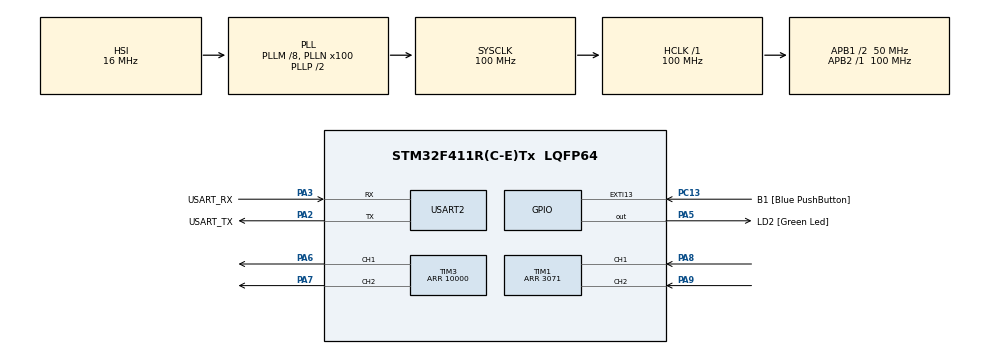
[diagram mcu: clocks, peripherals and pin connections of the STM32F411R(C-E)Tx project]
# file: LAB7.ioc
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Mcu.Family=STM32F4
Mcu.Name=STM32F411R(C-E)Tx
Mcu.Package=LQFP64
NVIC.PriorityGroup=NVIC_PRIORITYGROUP_0
NVIC.TIM2_IRQn=true\:0\:0\:false\:false\:true\:true\:true
PA13.GPIO_Label=TMS
PA13.Mode=Serial_Wire
PA13.Signal=SYS_JTMS-SWDIO
PA14.GPIO_Label=TCK
PA14.Mode=Serial_Wire
PA14.Signal=SYS_JTCK-SWCLK
PA2.GPIO_Label=USART_TX
PA2.Mode=Asynchronous
PA2.Signal=USART2_TX
PA3.GPIO_Label=USART_RX
PA3.Mode=Asynchronous
PA3.Signal=USART2_RX
PA5.GPIO_Label=LD2 [Green Led]
PA5.Signal=GPIO_Output
PA6.Signal=S_TIM3_CH1
PA7.Signal=S_TIM3_CH2
PA8.Signal=S_TIM1_CH1
PA9.Signal=S_TIM1_CH2
PB3.GPIO_Label=SWO
PB3.Signal=SYS_JTDO-SWO
PC13-ANTI_TAMP.GPIO_Label=B1 [Blue PushButton]
PC13-ANTI_TAMP.GPIO_ModeDefaultEXTI=GPIO_MODE_IT_FALLING
PC13-ANTI_TAMP.Signal=GPXTI13
PC14-OSC32_IN.Mode=LSE-External-Oscillator
PC14-OSC32_IN.Signal=RCC_OSC32_IN
PC15-OSC32_OUT.Mode=LSE-External-Oscillator
PC15-OSC32_OUT.Signal=RCC_OSC32_OUT
PH0\ -\ OSC_IN.Mode=HSE-External-Clock-Source
PH0\ -\ OSC_IN.Signal=RCC_OSC_IN
PH1\ -\ OSC_OUT.Mode=HSE-External-Clock-Source
PH1\ -\ OSC_OUT.Signal=RCC_OSC_OUT
ProjectManager.HeapSize=0x200
ProjectManager.StackSize=0x400
ProjectManager.TargetToolchain=STM32CubeIDE
RCC.48MHZClocksFreq_Value=50000000
RCC.AHBFreq_Value=100000000
RCC.APB1CLKDivider=RCC_HCLK_DIV2
RCC.APB1Freq_Value=50000000
RCC.APB1TimFreq_Value=100000000
RCC.APB2Freq_Value=100000000
RCC.APB2TimFreq_Value=100000000
RCC.CortexFreq_Value=100000000
RCC.FLatency-AdvancedSettings=FLASH_LATENCY_3
RCC.HCLKFreq_Value=100000000
RCC.HSE_VALUE=8000000
RCC.HSI_VALUE=16000000
RCC.PLLM=8
RCC.PLLN=100
RCC.SYSCLKFreq_VALUE=100000000
RCC.SYSCLKSource=RCC_SYSCLKSOURCE_PLLCLK
RCC.VCOOutputFreq_Value=200000000
SH.S_TIM1_CH1.0=TIM1_CH1,Encoder_Interface
SH.S_TIM1_CH2.0=TIM1_CH2,Encoder_Interface
SH.S_TIM3_CH1.0=TIM3_CH1,PWM Generation1 CH1
SH.S_TIM3_CH2.0=TIM3_CH2,PWM Generation2 CH2
TIM1.EncoderMode=TIM_ENCODERMODE_TI12
TIM1.Period=3071
TIM2.Prescaler=99
TIM3.Channel-PWM\ Generation1\ CH1=TIM_CHANNEL_1
TIM3.Channel-PWM\ Generation2\ CH2=TIM_CHANNEL_2
TIM3.Period=10000
USART2.VirtualMode=VM_ASYNC
VP_TIM2_VS_ClockSourceINT.Mode=Internal
VP_TIM3_VS_ClockSourceINT.Mode=Internal
board=NUCLEO-F411RE

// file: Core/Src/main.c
/* USER CODE BEGIN Header */
/**
 ******************************************************************************
 * @file           : main.c
 * @brief          : Main program body
 ******************************************************************************
 * @attention
 *
 * <h2><center>&copy; Copyright (c) 2021 STMicroelectronics.
 * All rights reserved.</center></h2>
 *
 * This software component is licensed by ST under BSD 3-Clause license,
 * the "License"; You may not use this file except in compliance with the
 * License. You may obtain a copy of the License at:
 *                        opensource.org/licenses/BSD-3-Clause
 *
 ******************************************************************************
 */
/* USER CODE END Header */
#include "main.h"

TIM_HandleTypeDef htim1;
TIM_HandleTypeDef htim2;
TIM_HandleTypeDef htim3;

UART_HandleTypeDef huart2;

/* USER CODE BEGIN PV */
uint64_t _micros = 0;
float EncoderVel,EncoderRPM,ControlRPM,Error,SumError,LastError,Ki=0.5,Kp=80.0,Kd=3.0;
int PWMOUT = 3000;
uint64_t Timestamp_Encoder = 0;
/* USER CODE END PV */

void SystemClock_Config(void);
static void MX_GPIO_Init(void);
static void MX_USART2_UART_Init(void);
static void MX_TIM1_Init(void);
static void MX_TIM2_Init(void);
static void MX_TIM3_Init(void);
/* USER CODE BEGIN PFP */
uint64_t micros();
float EncoderVelocity_Update();

/* USER CODE END PFP */

int main(void)
{

  /* MCU Configuration--------------------------------------------------------*/

  /* Reset of all peripherals, Initializes the Flash interface and the Systick. */
  HAL_Init();

  /* Configure the system clock */
  SystemClock_Config();

  /* Initialize all configured peripherals */
  MX_GPIO_Init();
  MX_USART2_UART_Init();
  MX_TIM1_Init();
  MX_TIM2_Init();
  MX_TIM3_Init();
  /* USER CODE BEGIN 2 */
	HAL_TIM_Base_Start_IT(&htim2);
	HAL_TIM_Encoder_Start(&htim1, TIM_CHANNEL_ALL);
	HAL_TIM_Base_Start(&htim3);
	HAL_TIM_PWM_Start(&htim3, TIM_CHANNEL_1);
	HAL_TIM_PWM_Start(&htim3, TIM_CHANNEL_2);
  /* USER CODE END 2 */

  /* Infinite loop */
	while (1)
	{

    /* USER CODE BEGIN 3 */

		//Add LPF?
		if (micros() - Timestamp_Encoder >= 1000)
		{
			Timestamp_Encoder = micros();
			EncoderVel = (EncoderVel * 99 + EncoderVelocity_Update()) / 100.0;
			EncoderRPM = ((EncoderRPM * 99) + (EncoderVel*60)/3072)/100.0;
			Error = ControlRPM - EncoderRPM;
			SumError+=Error;
			PWMOUT = (Kp * Error) + (Ki * SumError) + Kd * (Error-LastError);
			LastError = Error;
			if(PWMOUT > 0)
			{
				__HAL_TIM_SET_COMPARE(&htim3, TIM_CHANNEL_1, PWMOUT);
				__HAL_TIM_SET_COMPARE(&htim3, TIM_CHANNEL_2, 0);
			}
			else if(PWMOUT < 0)
			{
				PWMOUT = PWMOUT * (-1);
				__HAL_TIM_SET_COMPARE(&htim3, TIM_CHANNEL_1, 0);
				__HAL_TIM_SET_COMPARE(&htim3, TIM_CHANNEL_2, PWMOUT);
			}
			else
			{
				__HAL_TIM_SET_COMPARE(&htim3, TIM_CHANNEL_1, 0);
				__HAL_TIM_SET_COMPARE(&htim3, TIM_CHANNEL_2, 0);
			}

		}

	}
  /* USER CODE END 3 */
}

void SystemClock_Config(void)
{
  RCC_OscInitTypeDef RCC_OscInitStruct = {0};
  RCC_ClkInitTypeDef RCC_ClkInitStruct = {0};

  /** Configure the main internal regulator output voltage
  */
  __HAL_RCC_PWR_CLK_ENABLE();
  __HAL_PWR_VOLTAGESCALING_CONFIG(PWR_REGULATOR_VOLTAGE_SCALE1);
  /** Initializes the RCC Oscillators according to the specified parameters
  * in the RCC_OscInitTypeDef structure.
  */
  RCC_OscInitStruct.OscillatorType = RCC_OSCILLATORTYPE_HSI;
  RCC_OscInitStruct.HSIState = RCC_HSI_ON;
  RCC_OscInitStruct.HSICalibrationValue = RCC_HSICALIBRATION_DEFAULT;
  RCC_OscInitStruct.PLL.PLLState = RCC_PLL_ON;
  RCC_OscInitStruct.PLL.PLLSource = RCC_PLLSOURCE_HSI;
  RCC_OscInitStruct.PLL.PLLM = 8;
  RCC_OscInitStruct.PLL.PLLN = 100;
  RCC_OscInitStruct.PLL.PLLP = RCC_PLLP_DIV2;
  RCC_OscInitStruct.PLL.PLLQ = 4;
  if (HAL_RCC_OscConfig(&RCC_OscInitStruct) != HAL_OK)
  {
    Error_Handler();
  }
  /** Initializes the CPU, AHB and APB buses clocks
  */
  RCC_ClkInitStruct.ClockType = RCC_CLOCKTYPE_HCLK|RCC_CLOCKTYPE_SYSCLK
                              |RCC_CLOCKTYPE_PCLK1|RCC_CLOCKTYPE_PCLK2;
  RCC_ClkInitStruct.SYSCLKSource = RCC_SYSCLKSOURCE_PLLCLK;
  RCC_ClkInitStruct.AHBCLKDivider = RCC_SYSCLK_DIV1;
  RCC_ClkInitStruct.APB1CLKDivider = RCC_HCLK_DIV2;
  RCC_ClkInitStruct.APB2CLKDivider = RCC_HCLK_DIV1;

  if (HAL_RCC_ClockConfig(&RCC_ClkInitStruct, FLASH_LATENCY_3) != HAL_OK)
  {
    Error_Handler();
  }
}

static void MX_TIM1_Init(void)
{

  TIM_Encoder_InitTypeDef sConfig = {0};
  TIM_MasterConfigTypeDef sMasterConfig = {0};

  htim1.Instance = TIM1;
  htim1.Init.Prescaler = 0;
  htim1.Init.CounterMode = TIM_COUNTERMODE_UP;
  htim1.Init.Period = 3071;
  htim1.Init.ClockDivision = TIM_CLOCKDIVISION_DIV1;
  htim1.Init.RepetitionCounter = 0;
  htim1.Init.AutoReloadPreload = TIM_AUTORELOAD_PRELOAD_DISABLE;
  sConfig.EncoderMode = TIM_ENCODERMODE_TI12;
  sConfig.IC1Polarity = TIM_ICPOLARITY_RISING;
  sConfig.IC1Selection = TIM_ICSELECTION_DIRECTTI;
  sConfig.IC1Prescaler = TIM_ICPSC_DIV1;
  sConfig.IC1Filter = 0;
  sConfig.IC2Polarity = TIM_ICPOLARITY_RISING;
  sConfig.IC2Selection = TIM_ICSELECTION_DIRECTTI;
  sConfig.IC2Prescaler = TIM_ICPSC_DIV1;
  sConfig.IC2Filter = 0;
  if (HAL_TIM_Encoder_Init(&htim1, &sConfig) != HAL_OK)
  {
    Error_Handler();
  }
  sMasterConfig.MasterOutputTrigger = TIM_TRGO_RESET;
  sMasterConfig.MasterSlaveMode = TIM_MASTERSLAVEMODE_DISABLE;
  if (HAL_TIMEx_MasterConfigSynchronization(&htim1, &sMasterConfig) != HAL_OK)
  {
    Error_Handler();
  }

}

static void MX_TIM2_Init(void)
{

  TIM_ClockConfigTypeDef sClockSourceConfig = {0};
  TIM_MasterConfigTypeDef sMasterConfig = {0};

  htim2.Instance = TIM2;
  htim2.Init.Prescaler = 99;
  htim2.Init.CounterMode = TIM_COUNTERMODE_UP;
  htim2.Init.Period = 4294967295;
  htim2.Init.ClockDivision = TIM_CLOCKDIVISION_DIV1;
  htim2.Init.AutoReloadPreload = TIM_AUTORELOAD_PRELOAD_DISABLE;
  if (HAL_TIM_Base_Init(&htim2) != HAL_OK)
  {
    Error_Handler();
  }
  sClockSourceConfig.ClockSource = TIM_CLOCKSOURCE_INTERNAL;
  if (HAL_TIM_ConfigClockSource(&htim2, &sClockSourceConfig) != HAL_OK)
  {
    Error_Handler();
  }
  sMasterConfig.MasterOutputTrigger = TIM_TRGO_RESET;
  sMasterConfig.MasterSlaveMode = TIM_MASTERSLAVEMODE_DISABLE;
  if (HAL_TIMEx_MasterConfigSynchronization(&htim2, &sMasterConfig) != HAL_OK)
  {
    Error_Handler();
  }

}

static void MX_TIM3_Init(void)
{

  TIM_ClockConfigTypeDef sClockSourceConfig = {0};
  TIM_MasterConfigTypeDef sMasterConfig = {0};
  TIM_OC_InitTypeDef sConfigOC = {0};

  htim3.Instance = TIM3;
  htim3.Init.Prescaler = 0;
  htim3.Init.CounterMode = TIM_COUNTERMODE_UP;
  htim3.Init.Period = 10000;
  htim3.Init.ClockDivision = TIM_CLOCKDIVISION_DIV1;
  htim3.Init.AutoReloadPreload = TIM_AUTORELOAD_PRELOAD_DISABLE;
  if (HAL_TIM_Base_Init(&htim3) != HAL_OK)
  {
    Error_Handler();
  }
  sClockSourceConfig.ClockSource = TIM_CLOCKSOURCE_INTERNAL;
  if (HAL_TIM_ConfigClockSource(&htim3, &sClockSourceConfig) != HAL_OK)
  {
    Error_Handler();
  }
  if (HAL_TIM_PWM_Init(&htim3) != HAL_OK)
  {
    Error_Handler();
  }
  sMasterConfig.MasterOutputTrigger = TIM_TRGO_RESET;
  sMasterConfig.MasterSlaveMode = TIM_MASTERSLAVEMODE_DISABLE;
  if (HAL_TIMEx_MasterConfigSynchronization(&htim3, &sMasterConfig) != HAL_OK)
  {
    Error_Handler();
  }
  sConfigOC.OCMode = TIM_OCMODE_PWM1;
  sConfigOC.Pulse = 0;
  sConfigOC.OCPolarity = TIM_OCPOLARITY_HIGH;
  sConfigOC.OCFastMode = TIM_OCFAST_DISABLE;
  if (HAL_TIM_PWM_ConfigChannel(&htim3, &sConfigOC, TIM_CHANNEL_1) != HAL_OK)
  {
    Error_Handler();
  }
  if (HAL_TIM_PWM_ConfigChannel(&htim3, &sConfigOC, TIM_CHANNEL_2) != HAL_OK)
  {
    Error_Handler();
  }
  HAL_TIM_MspPostInit(&htim3);

}

static void MX_USART2_UART_Init(void)
{

  huart2.Instance = USART2;
  huart2.Init.BaudRate = 115200;
  huart2.Init.WordLength = UART_WORDLENGTH_8B;
  huart2.Init.StopBits = UART_STOPBITS_1;
  huart2.Init.Parity = UART_PARITY_NONE;
  huart2.Init.Mode = UART_MODE_TX_RX;
  huart2.Init.HwFlowCtl = UART_HWCONTROL_NONE;
  huart2.Init.OverSampling = UART_OVERSAMPLING_16;
  if (HAL_UART_Init(&huart2) != HAL_OK)
  {
    Error_Handler();
  }

}

static void MX_GPIO_Init(void)
{
  GPIO_InitTypeDef GPIO_InitStruct = {0};

  /* GPIO Ports Clock Enable */
  __HAL_RCC_GPIOC_CLK_ENABLE();
  __HAL_RCC_GPIOH_CLK_ENABLE();
  __HAL_RCC_GPIOA_CLK_ENABLE();
  __HAL_RCC_GPIOB_CLK_ENABLE();

  /*Configure GPIO pin Output Level */
  HAL_GPIO_WritePin(LD2_GPIO_Port, LD2_Pin, GPIO_PIN_RESET);

  /*Configure GPIO pin : B1_Pin */
  GPIO_InitStruct.Pin = B1_Pin;
  GPIO_InitStruct.Mode = GPIO_MODE_IT_FALLING;
  GPIO_InitStruct.Pull = GPIO_NOPULL;
  HAL_GPIO_Init(B1_GPIO_Port, &GPIO_InitStruct);

  /*Configure GPIO pin : LD2_Pin */
  GPIO_InitStruct.Pin = LD2_Pin;
  GPIO_InitStruct.Mode = GPIO_MODE_OUTPUT_PP;
  GPIO_InitStruct.Pull = GPIO_NOPULL;
  GPIO_InitStruct.Speed = GPIO_SPEED_FREQ_LOW;
  HAL_GPIO_Init(LD2_GPIO_Port, &GPIO_InitStruct);

}

/* USER CODE BEGIN 4 */
#define  HTIM_ENCODER htim1
#define  MAX_SUBPOSITION_OVERFLOW 1536
#define  MAX_ENCODER_PERIOD 3072

float EncoderVelocity_Update()
{
	//Save Last state
	static uint32_t EncoderLastPosition = 0;
	static uint64_t EncoderLastTime = 0;

	//read data
	uint32_t EncoderNowPosition = HTIM_ENCODER.Instance->CNT;
	uint64_t EncoderNowTime = micros();

	int32_t EncoderPositionDiff;
	uint64_t EncoderTimeDiff;

	EncoderTimeDiff = EncoderNowTime - EncoderLastTime;
	EncoderPositionDiff = EncoderNowPosition - EncoderLastPosition;

	//compensate overflow and underflow
	if (EncoderPositionDiff >= MAX_SUBPOSITION_OVERFLOW)
	{
		EncoderPositionDiff -= MAX_ENCODER_PERIOD;
	}
	else if (-EncoderPositionDiff >= MAX_SUBPOSITION_OVERFLOW)
	{
		EncoderPositionDiff += MAX_ENCODER_PERIOD;
	}

	//Update Position and time
	EncoderLastPosition = EncoderNowPosition;
	EncoderLastTime = EncoderNowTime;

	//Calculate velocity
	//EncoderTimeDiff is in uS
	return (EncoderPositionDiff * 1000000) / (float) EncoderTimeDiff;

}

void HAL_TIM_PeriodElapsedCallback(TIM_HandleTypeDef *htim)
{
	if (htim == &htim2)
	{
		_micros += 4294967295;
	}
}
uint64_t micros()
{
	return _micros + htim2.Instance->CNT;
}
/* USER CODE END 4 */

void Error_Handler(void)
{
	__disable_irq();
	while (1)
	{
	}
}

/************************ (C) COPYRIGHT STMicroelectronics *****END OF FILE****/
